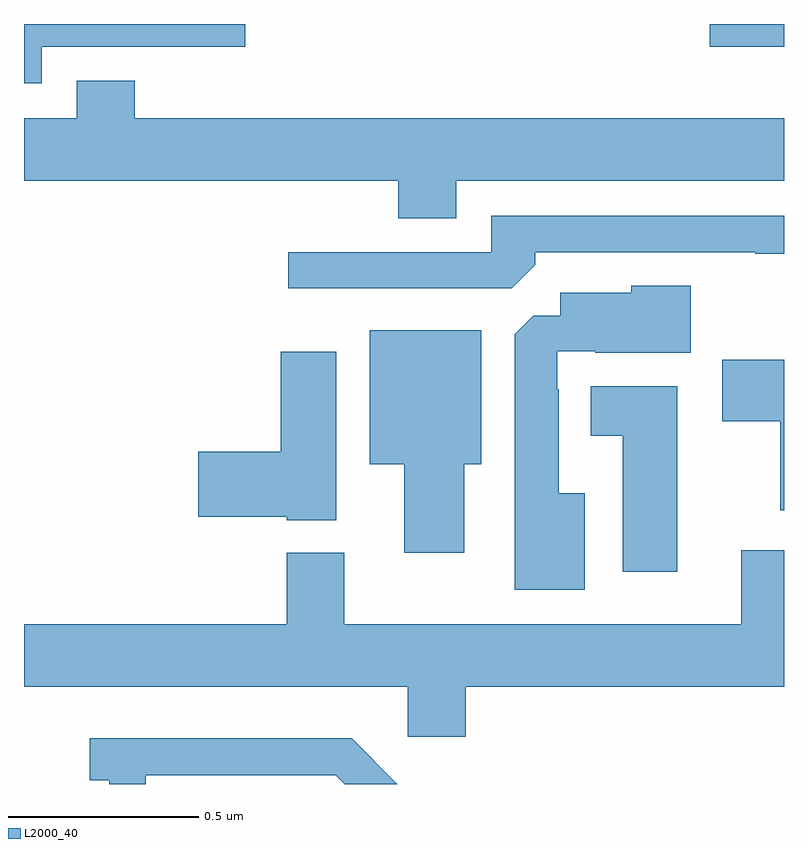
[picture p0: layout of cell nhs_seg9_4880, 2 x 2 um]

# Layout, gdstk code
import gdstk
lib = gdstk.Library(unit=1e-6, precision=1e-09)
def R(c, l, rs):  # rectangles x0, y0, x1, y1
    for r in rs: c.add(gdstk.rectangle(r[:2], r[2:], *l))
def P(c, l, *ps):  # polygons
    for p in ps: c.add(gdstk.Polygon(p, *l))
L2000_40 = (2000, 40)

nhs_seg9_4880 = lib.new_cell('nhs_seg9_4880')
R(nhs_seg9_4880, L2000_40, [(173.805,1195.44,174,1195.5)])
P(nhs_seg9_4880, L2000_40, [(172.047,1195.44),(172.582,1195.44),(172.582,1195.5),(172,1195.5),(172,1195.344),(172.047,1195.344)],
  [(173.137,1195.088),(174,1195.088),(174,1195.252),(172.292,1195.252),(172.292,1195.351),(172.139,1195.351),(172.139,1195.252),(172,1195.252),(172,1195.088),(172.985,1195.088),(172.985,1194.989),(173.137,1194.989)],
  [(173.345,1194.866),(173.345,1194.9),(173.924,1194.9),(173.924,1194.895),(174,1194.895),(174,1194.996),(173.229,1194.996),(173.229,1194.9),(172.695,1194.9),(172.695,1194.804),(173.283,1194.804)],
  [(173.476,1194.265),(173.407,1194.265),(173.407,1194.539),(173.403,1194.539),(173.403,1194.639),(173.503,1194.639),(173.503,1194.635),(173.755,1194.635),(173.755,1194.811),(173.598,1194.811),(173.598,1194.793),(173.411,1194.793),(173.411,1194.732),(173.34,1194.732),(173.291,1194.683),(173.291,1194.011),(173.476,1194.011)],
  [(173.158,1194.341),(173.203,1194.341),(173.203,1194.694),(172.91,1194.694),(172.91,1194.341),(173,1194.341),(173,1194.108),(173.158,1194.108)],
  [(172.822,1194.637),(172.676,1194.637),(172.676,1194.374),(172.458,1194.374),(172.458,1194.203),(172.692,1194.203),(172.692,1194.194),(172.822,1194.194)],
  [(174,1194.616),(173.838,1194.616),(173.838,1194.454),(173.99,1194.454),(173.99,1194.221),(174,1194.221)],
  [(173.719,1194.547),(173.492,1194.547),(173.492,1194.416),(173.576,1194.416),(173.576,1194.059),(173.719,1194.059)],
  [(173.162,1193.756),(174,1193.756),(174,1194.115),(173.888,1194.115),(173.888,1193.92),(172.843,1193.92),(172.843,1194.109),(172.691,1194.109),(172.691,1193.92),(172,1193.92),(172,1193.756),(173.01,1193.756),(173.01,1193.625),(173.162,1193.625)],
  [(172.321,1193.523),(172.821,1193.523),(172.844,1193.5),(172.982,1193.5),(172.862,1193.62),(172.173,1193.62),(172.173,1193.51),(172.224,1193.51),(172.224,1193.5),(172.321,1193.5)])

lib.write_gds('nhs_seg9_4880.gds')
